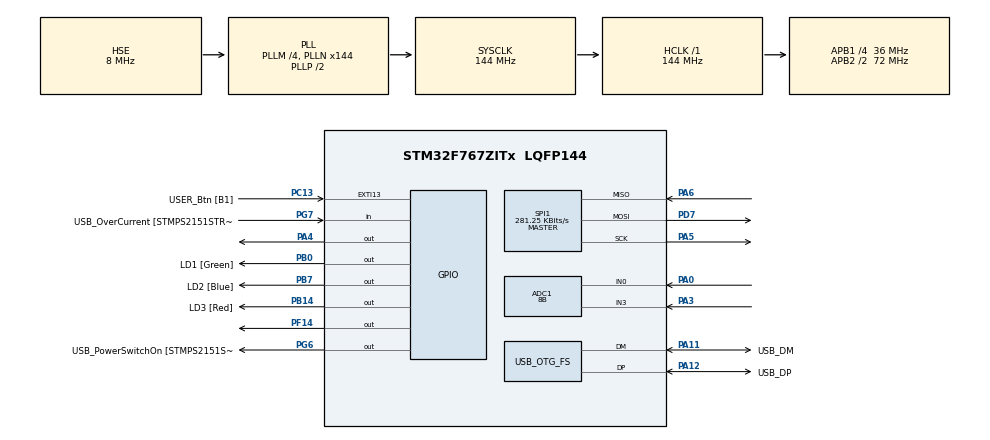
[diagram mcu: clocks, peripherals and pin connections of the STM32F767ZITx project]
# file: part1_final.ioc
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ADC1.Channel-0\#ChannelRegularConversion=ADC_CHANNEL_0
ADC1.ContinuousConvMode=ENABLE
ADC1.DMAAccessMode=ADC_DMAACCESSMODE_2
ADC1.DMAContinuousRequests=ENABLE
ADC1.Mode=ADC_TRIPLEMODE_INTERL
ADC1.NbrOfConversionFlag=1
ADC1.Rank-0\#ChannelRegularConversion=1
ADC1.Resolution=ADC_RESOLUTION_8B
ADC1.SamplingTime-0\#ChannelRegularConversion=ADC_SAMPLETIME_3CYCLES
ADC1.TwoSamplingDelay=ADC_TWOSAMPLINGDELAY_7CYCLES
ADC1.master=1
ADC2.Channel-0\#ChannelRegularConversion=ADC_CHANNEL_0
ADC2.ContinuousConvMode=ENABLE
ADC2.DMAAccessMode=ADC_DMAACCESSMODE_2
ADC2.Mode=ADC_TRIPLEMODE_INTERL
ADC2.NbrOfConversionFlag=1
ADC2.Rank-0\#ChannelRegularConversion=1
ADC2.Resolution=ADC_RESOLUTION_8B
ADC2.SamplingTime-0\#ChannelRegularConversion=ADC_SAMPLETIME_3CYCLES
ADC2.TwoSamplingDelay=ADC_TWOSAMPLINGDELAY_7CYCLES
ADC3.Channel-0\#ChannelRegularConversion=ADC_CHANNEL_0
ADC3.ContinuousConvMode=ENABLE
ADC3.DMAAccessMode=ADC_DMAACCESSMODE_2
ADC3.Mode=ADC_TRIPLEMODE_INTERL
ADC3.NbrOfConversionFlag=1
ADC3.Rank-0\#ChannelRegularConversion=1
ADC3.Resolution=ADC_RESOLUTION_8B
ADC3.SamplingTime-0\#ChannelRegularConversion=ADC_SAMPLETIME_3CYCLES
ADC3.TwoSamplingDelay=ADC_TWOSAMPLINGDELAY_7CYCLES
Dma.ADC1.0.Direction=DMA_PERIPH_TO_MEMORY
Dma.ADC1.0.FIFOMode=DMA_FIFOMODE_ENABLE
Dma.ADC1.0.FIFOThreshold=DMA_FIFO_THRESHOLD_FULL
Dma.ADC1.0.Instance=DMA2_Stream0
Dma.ADC1.0.MemBurst=DMA_MBURST_SINGLE
Dma.ADC1.0.MemDataAlignment=DMA_MDATAALIGN_WORD
Dma.ADC1.0.MemInc=DMA_MINC_ENABLE
Dma.ADC1.0.Mode=DMA_NORMAL
Dma.ADC1.0.PeriphBurst=DMA_PBURST_SINGLE
Dma.ADC1.0.PeriphDataAlignment=DMA_PDATAALIGN_WORD
Dma.ADC1.0.PeriphInc=DMA_PINC_DISABLE
Dma.ADC1.0.Priority=DMA_PRIORITY_LOW
Dma.Request0=ADC1
Mcu.Family=STM32F7
Mcu.Name=STM32F767ZITx
Mcu.Package=LQFP144
NVIC.ADC_IRQn=true\:0\:0\:false\:false\:true\:true\:true
NVIC.DMA2_Stream0_IRQn=true\:0\:0\:false\:false\:true\:false\:true
NVIC.OTG_FS_IRQn=true\:0\:0\:false\:false\:true\:false\:true
NVIC.PriorityGroup=NVIC_PRIORITYGROUP_4
PA0/WKUP.Signal=ADCx_IN0
PA1.GPIO_Label=RMII_REF_CLK [LAN8742A-CZ-TR_REFCLK0]
PA1.Signal=ETH_REF_CLK
PA10.GPIO_Label=USB_ID
PA10.Signal=USB_OTG_FS_ID
PA11.GPIO_Label=USB_DM
PA11.Mode=Device_Only
PA11.Signal=USB_OTG_FS_DM
PA12.GPIO_Label=USB_DP
PA12.Mode=Device_Only
PA12.Signal=USB_OTG_FS_DP
PA13.GPIO_Label=TMS
PA13.Mode=Serial_Wire
PA13.Signal=SYS_JTMS-SWDIO
PA14.GPIO_Label=TCK
PA14.Mode=Serial_Wire
PA14.Signal=SYS_JTCK-SWCLK
PA2.GPIO_Label=RMII_MDIO [LAN8742A-CZ-TR_MDIO]
PA2.Signal=ETH_MDIO
PA3.Signal=ADCx_IN3
PA4.Signal=GPIO_Output
PA5.Mode=Full_Duplex_Master
PA5.Signal=SPI1_SCK
PA6.Mode=Full_Duplex_Master
PA6.Signal=SPI1_MISO
PA7.GPIO_Label=RMII_CRS_DV [LAN8742A-CZ-TR_CRS_DV]
PA7.Signal=ETH_CRS_DV
PA8.GPIO_Label=USB_SOF [TP1]
PA8.Signal=USB_OTG_FS_SOF
PA9.GPIO_Label=USB_VBUS
PA9.Signal=USB_OTG_FS_VBUS
PB0.GPIO_Label=LD1 [Green]
PB0.Signal=GPIO_Output
PB13.GPIO_Label=RMII_TXD1 [LAN8742A-CZ-TR_TXD1]
PB13.Signal=ETH_TXD1
PB14.GPIO_Label=LD3 [Red]
PB14.Signal=GPIO_Output
PB3.GPIO_Label=SW0
PB3.Signal=SYS_JTDO-SWO
PB7.GPIO_Label=LD2 [Blue]
PB7.Signal=GPIO_Output
PC1.GPIO_Label=RMII_MDC [LAN8742A-CZ-TR_MDC]
PC1.Signal=ETH_MDC
PC13.GPIO_Label=USER_Btn [B1]
PC13.Signal=GPXTI13
PC14/OSC32_IN.Signal=RCC_OSC32_IN
PC15/OSC32_OUT.Signal=RCC_OSC32_OUT
PC4.GPIO_Label=RMII_RXD0 [LAN8742A-CZ-TR_RXD0]
PC4.Signal=ETH_RXD0
PC5.GPIO_Label=RMII_RXD1 [LAN8742A-CZ-TR_RXD1]
PC5.Signal=ETH_RXD1
PD7.Mode=Full_Duplex_Master
PD7.Signal=SPI1_MOSI
PD8.GPIO_Label=STLK_RX [STM32F103CBT6_PA3]
PD8.Signal=USART3_TX
PD9.GPIO_Label=STLK_TX [STM32F103CBT6_PA2]
PD9.Signal=USART3_RX
PF14.Signal=GPIO_Output
PG11.GPIO_Label=RMII_TX_EN [LAN8742A-CZ-TR_TXEN]
PG11.Signal=ETH_TX_EN
PG13.GPIO_Label=RMII_TXD0 [LAN8742A-CZ-TR_TXD0]
PG13.Signal=ETH_TXD0
PG6.GPIO_Label=USB_PowerSwitchOn [STMPS2151STR_EN]
PG6.Signal=GPIO_Output
PG7.GPIO_Label=USB_OverCurrent [STMPS2151STR_FAULT]
PG7.Signal=GPIO_Input
PH0/OSC_IN.GPIO_Label=MCO [STM32F103CBT6_PA8]
PH0/OSC_IN.Mode=HSE-External-Clock-Source
PH0/OSC_IN.Signal=RCC_OSC_IN
PH1/OSC_OUT.Mode=HSE-External-Clock-Source
PH1/OSC_OUT.Signal=RCC_OSC_OUT
ProjectManager.HeapSize=0xA000
ProjectManager.StackSize=0xA000
ProjectManager.TargetToolchain=MDK-ARM V5.27
RCC.48MHZClocksFreq_Value=24000000
RCC.AHBFreq_Value=144000000
RCC.APB1CLKDivider=RCC_HCLK_DIV4
RCC.APB1Freq_Value=36000000
RCC.APB1TimFreq_Value=72000000
RCC.APB2CLKDivider=RCC_HCLK_DIV2
RCC.APB2Freq_Value=72000000
RCC.APB2TimFreq_Value=144000000
RCC.CortexFreq_Value=144000000
RCC.HCLKFreq_Value=144000000
RCC.HSE_VALUE=8000000
RCC.HSI_VALUE=16000000
RCC.LSE_VALUE=32768
RCC.PLLM=4
RCC.PLLMUL=RCC_PLL_MUL9
RCC.PLLN=144
RCC.PLLQ=6
RCC.PRESCALERUSB=RCC_USBCLKSOURCE_PLL_DIV1_5
RCC.SYSCLKFreq_VALUE=144000000
RCC.SYSCLKSource=RCC_SYSCLKSOURCE_PLLCLK
RCC.SYSCLKSourceVirtual=RCC_SYSCLKSOURCE_PLLCLK
RCC.USBFreq_Value=48000000
RCC.VCOOutputFreq_Value=288000000
SH.ADCx_IN0.0=ADC1_IN0,IN0
SH.ADCx_IN0.1=ADC2_IN0,IN0
SH.ADCx_IN0.2=ADC3_IN0,IN0
SH.ADCx_IN3.0=ADC1_IN3,IN3
SH.ADCx_IN3.1=ADC2_IN3,IN3
SH.ADCx_IN3.2=ADC3_IN3,IN3
SPI1.BaudRatePrescaler=SPI_BAUDRATEPRESCALER_256
SPI1.CLKPhase=SPI_PHASE_2EDGE
SPI1.CalculateBaudRate=281.25 KBits/s
SPI1.DataSize=SPI_DATASIZE_8BIT
SPI1.Direction=SPI_DIRECTION_2LINES
SPI1.Mode=SPI_MODE_MASTER
SPI1.VirtualType=VM_MASTER
USB_DEVICE.CLASS_NAME_FS=CDC
USB_DEVICE.VirtualMode-CDC_FS=Cdc
USB_DEVICE.VirtualModeFS=Cdc_FS
USB_OTG_FS.VirtualMode=Device_Only
VP_USB_DEVICE_VS_USB_DEVICE_CDC_FS.Mode=CDC_FS
board=NUCLEO-F767ZI

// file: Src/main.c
/* USER CODE BEGIN Header */
/**
  ******************************************************************************
  * @file           : main.c
  * @brief          : Main program body
  ******************************************************************************
  * @attention
  *
  * <h2><center>&copy; Copyright (c) 2020 STMicroelectronics.
  * All rights reserved.</center></h2>
  *
  * This software component is licensed by ST under Ultimate Liberty license
  * SLA0044, the "License"; You may not use this file except in compliance with
  * the License. You may obtain a copy of the License at:
  *                             www.st.com/SLA0044
  *
  ******************************************************************************
  */
/* USER CODE END Header */

#include "main.h"
#include "adc.h"
#include "dma.h"
#include "spi.h"
#include "usb_device.h"
#include "gpio.h"

/* USER CODE BEGIN Includes */
#include "usbd_cdc_if.h"
#include <stdbool.h>
#include "MAX31865.h"
#include "usbd_cdc_if.h"
/* USER CODE END Includes */

/* USER CODE BEGIN PD */
#define			sample_size			2500
#define			sensor_size			5
/* USER CODE END PD */

/* USER CODE BEGIN PV */
uint32_t adc_value[sample_size];
uint8_t  tx_data[2*sample_size+sensor_size];
uint8_t  rec_mes[4]={0,0,0,0};
uint8_t  snd_cmn[4]="send";

Max31865_t		pt1000;
bool 					pt1000isOK;
float					pt1000Temp;
float					Temp;
/* USER CODE END PV */

void SystemClock_Config(void);

/* USER CODE BEGIN 0 */
bool arry_cmp(uint8_t *a,uint8_t *b,uint16_t length)
	{
		uint16_t idx_cmp;
		for(idx_cmp=0;idx_cmp<length;idx_cmp++)
		{
			if(a[idx_cmp]!= b[idx_cmp])
				return false;
		}
		return true;
	}

	void config_channel3(void)
	{
  ADC_ChannelConfTypeDef sConfig = {0};
  sConfig.Channel = ADC_CHANNEL_3;
  sConfig.Rank = ADC_REGULAR_RANK_1;
  sConfig.SamplingTime = ADC_SAMPLETIME_3CYCLES;
  HAL_ADC_ConfigChannel(&hadc1, &sConfig);
	HAL_ADC_ConfigChannel(&hadc2, &sConfig);
	HAL_ADC_ConfigChannel(&hadc3, &sConfig);
	}
	void config_channel0(void)
	{
  ADC_ChannelConfTypeDef sConfig = {0};
  sConfig.Channel = ADC_CHANNEL_0;
  sConfig.Rank = ADC_REGULAR_RANK_1;
  sConfig.SamplingTime = ADC_SAMPLETIME_3CYCLES;
  HAL_ADC_ConfigChannel(&hadc1, &sConfig);
	HAL_ADC_ConfigChannel(&hadc2, &sConfig);
	HAL_ADC_ConfigChannel(&hadc3, &sConfig);
  }
/* USER CODE END 0 */

int main(void)
{

  /* MCU Configuration--------------------------------------------------------*/

  /* Reset of all peripherals, Initializes the Flash interface and the Systick. */
  HAL_Init();

  /* Configure the system clock */
  SystemClock_Config();

  /* Initialize all configured peripherals */
  MX_GPIO_Init();
  MX_DMA_Init();
  MX_ADC1_Init();
  MX_ADC2_Init();
  MX_ADC3_Init();
  MX_SPI1_Init();
  MX_USB_DEVICE_Init();
  /* USER CODE BEGIN 2 */
	HAL_GPIO_WritePin(GPIOF,GPIO_PIN_14, 0);		//Set pin F14 LOW (F103 PWM Trigger)
  /* USER CODE END 2 */
	Max31865_init(&pt1000,&hspi1,GPIOA,GPIO_PIN_4,2,50);	//Init Temperature_Sensor
  /* Infinite loop */
  while (1)
  {

    /* USER CODE BEGIN 3 */
//		pt1000isOK = Max31865_readTempC(&pt1000,&t);
//		pt1000Temp = Max31865_Filter(t,pt1000Temp,0.1);
//		tx_data[sample_size]									 = *((uint8_t*)(&pt1000Temp));
//		tx_data[sample_size+sensor_size+1]		 = *((uint8_t*)(&pt1000Temp)+1);
//		tx_data[sample_size+sensor_size+2]		 = *((uint8_t*)(&pt1000Temp)+2);
//		tx_data[sample_size+sensor_size+3]		 = *((uint8_t*)(&pt1000Temp)+3);
//		CDC_Transmit_FS(temp,4);
//		HAL_Delay(1000);
  }
  /* USER CODE END 3 */
}

void SystemClock_Config(void)
{
  RCC_OscInitTypeDef RCC_OscInitStruct = {0};
  RCC_ClkInitTypeDef RCC_ClkInitStruct = {0};
  RCC_PeriphCLKInitTypeDef PeriphClkInitStruct = {0};

  /** Configure the main internal regulator output voltage
  */
  __HAL_RCC_PWR_CLK_ENABLE();
  __HAL_PWR_VOLTAGESCALING_CONFIG(PWR_REGULATOR_VOLTAGE_SCALE3);
  /** Initializes the CPU, AHB and APB busses clocks
  */
  RCC_OscInitStruct.OscillatorType = RCC_OSCILLATORTYPE_HSE;
  RCC_OscInitStruct.HSEState = RCC_HSE_BYPASS;
  RCC_OscInitStruct.PLL.PLLState = RCC_PLL_ON;
  RCC_OscInitStruct.PLL.PLLSource = RCC_PLLSOURCE_HSE;
  RCC_OscInitStruct.PLL.PLLM = 4;
  RCC_OscInitStruct.PLL.PLLN = 144;
  RCC_OscInitStruct.PLL.PLLP = RCC_PLLP_DIV2;
  RCC_OscInitStruct.PLL.PLLQ = 6;
  if (HAL_RCC_OscConfig(&RCC_OscInitStruct) != HAL_OK)
  {
    Error_Handler();
  }
  /** Initializes the CPU, AHB and APB busses clocks
  */
  RCC_ClkInitStruct.ClockType = RCC_CLOCKTYPE_HCLK|RCC_CLOCKTYPE_SYSCLK
                              |RCC_CLOCKTYPE_PCLK1|RCC_CLOCKTYPE_PCLK2;
  RCC_ClkInitStruct.SYSCLKSource = RCC_SYSCLKSOURCE_PLLCLK;
  RCC_ClkInitStruct.AHBCLKDivider = RCC_SYSCLK_DIV1;
  RCC_ClkInitStruct.APB1CLKDivider = RCC_HCLK_DIV4;
  RCC_ClkInitStruct.APB2CLKDivider = RCC_HCLK_DIV2;

  if (HAL_RCC_ClockConfig(&RCC_ClkInitStruct, FLASH_LATENCY_4) != HAL_OK)
  {
    Error_Handler();
  }
  PeriphClkInitStruct.PeriphClockSelection = RCC_PERIPHCLK_CLK48;
  PeriphClkInitStruct.Clk48ClockSelection = RCC_CLK48SOURCE_PLL;
  if (HAL_RCCEx_PeriphCLKConfig(&PeriphClkInitStruct) != HAL_OK)
  {
    Error_Handler();
  }
}

/* USER CODE BEGIN 4 */
void CDC_ReceiveCallBack(uint8_t *buf, uint32_t len)
{
	// Check Received Message From PC
	uint8_t	idx_cpy_rec_buf = 0;
	for(idx_cpy_rec_buf=0;idx_cpy_rec_buf<4;idx_cpy_rec_buf++)
	 {
		rec_mes[idx_cpy_rec_buf] = *(buf+idx_cpy_rec_buf);
	 }

	if(arry_cmp(rec_mes,snd_cmn,4) == true)
	 {
		config_channel0();

	 // Make External Trigger For F103(PWM)
		HAL_GPIO_WritePin(GPIOF,GPIO_PIN_14, 1);
		 uint16_t idx1_delay = 0;
		 uint16_t idx2_delay = 0;
			for(idx2_delay=0;idx2_delay<65000;idx2_delay++);
		HAL_GPIO_WritePin(GPIOF,GPIO_PIN_14, 0);

	 // Turn on ADC_Interleaved
		HAL_ADC_Start(&hadc3);
		HAL_ADC_Start(&hadc2);
		HAL_ADCEx_MultiModeStart_DMA(&hadc1,adc_value,sample_size);
		HAL_ADC_Start(&hadc3);
		HAL_ADC_Start(&hadc2);
		HAL_ADCEx_MultiModeStart_DMA(&hadc1,adc_value,sample_size);
	 }
}
void HAL_ADC_ConvCpltCallback(ADC_HandleTypeDef* hadc)
{
		// GET Temperature
			pt1000isOK = Max31865_readTempC(&pt1000,&Temp);
			pt1000Temp = Max31865_Filter(Temp,pt1000Temp,0.1);
			tx_data[2*sample_size]			 = *((uint8_t*)(&pt1000Temp));
			tx_data[2*sample_size+1]		 = *((uint8_t*)(&pt1000Temp)+1);
			tx_data[2*sample_size+2]		 = *((uint8_t*)(&pt1000Temp)+2);
			tx_data[2*sample_size+3]		 = *((uint8_t*)(&pt1000Temp)+3);

		// GET Pressure
			config_channel3();
			HAL_ADC_Start(&hadc3);
		  HAL_ADC_Start(&hadc2);
			tx_data[2*sample_size+sensor_size-1] = HAL_ADCEx_MultiModeGetValue(&hadc1);

		// Prepare Interleaved Sampled Data
			uint16_t index = 0;
			for(index=0;index<sample_size;index++)
			{
				tx_data[2*index] = adc_value[index];
				tx_data[2*index+1] =adc_value[index]>>16;
			}

		// Send Data To PC
			CDC_Transmit_FS(tx_data,sample_size*2+sensor_size);
			HAL_GPIO_TogglePin(LD1_GPIO_Port, LD1_Pin);

}
void HAL_GPIO_EXTI_Callback(uint16_t GPIO_Pin)
{
}
void CDC_transmitCallBack(uint8_t *buf, uint32_t len)
{
}

/* USER CODE END 4 */

void Error_Handler(void)
{
}

/************************ (C) COPYRIGHT STMicroelectronics *****END OF FILE****/
